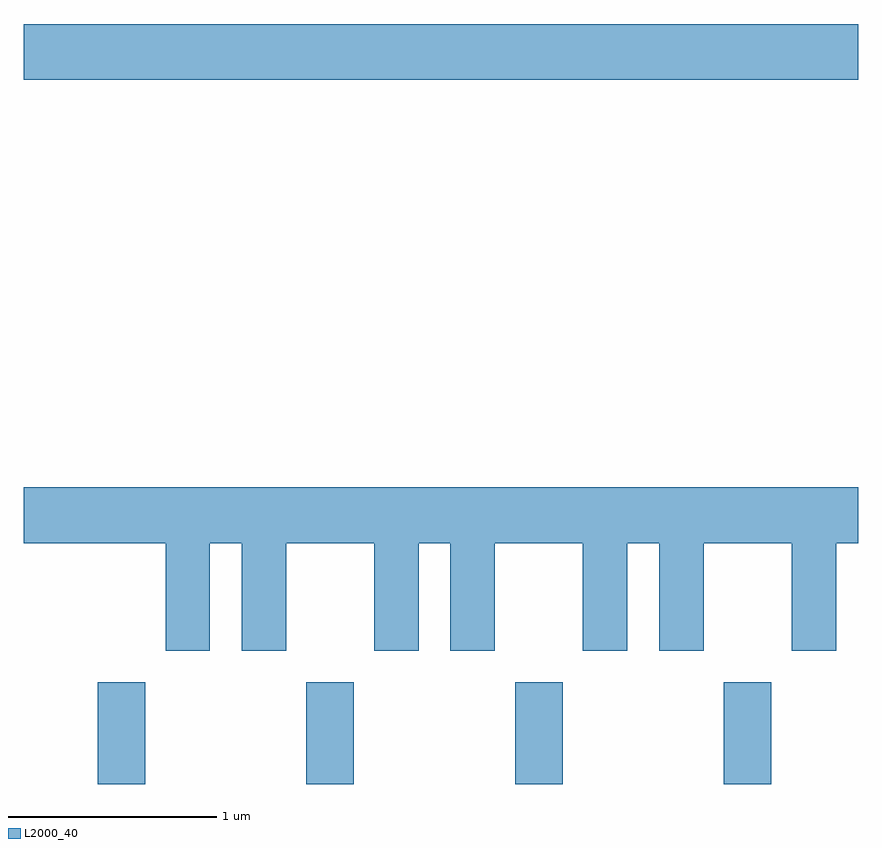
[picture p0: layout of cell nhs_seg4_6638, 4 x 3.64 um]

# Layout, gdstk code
import gdstk
lib = gdstk.Library(unit=1e-6, precision=1e-09)
def R(c, l, rs):  # rectangles x0, y0, x1, y1
    for r in rs: c.add(gdstk.rectangle(r[:2], r[2:], *l))
def A(c, l, x, y, w, h, nx, ny, dx, dy):  # array of equal rectangles
    R(c, l, [(x+i*dx, y+j*dy, x+i*dx+w, y+j*dy+h) for i in range(nx) for j in range(ny)])
def P(c, l, *ps):  # polygons
    for p in ps: c.add(gdstk.Polygon(p, *l))
L2000_40 = (2000, 40)

nhs_seg4_6638 = lib.new_cell('nhs_seg4_6638')
A(nhs_seg4_6638, L2000_40, 379.966, 1337.982, 0.228, 0.487, 4, 1, 1, 0)
R(nhs_seg4_6638, L2000_40, [(379.611,1341.356,383.611,1341.624)])
P(nhs_seg4_6638, L2000_40, [(380.504,1339.136),(380.656,1339.136),(380.656,1338.621),(380.869,1338.621),(380.869,1339.136),(381.291,1339.136),(381.291,1338.621),(381.504,1338.621),(381.504,1339.136),(381.656,1339.136),(381.656,1338.621),(381.869,1338.621),(381.869,1339.136),(382.291,1339.136),(382.291,1338.621),(382.504,1338.621),(382.504,1339.136),(382.656,1339.136),(382.656,1338.621),(382.869,1338.621),(382.869,1339.136),(383.291,1339.136),(383.291,1338.621),(383.504,1338.621),(383.504,1339.136),(383.611,1339.136),(383.611,1339.404),(379.611,1339.404),(379.611,1339.136),(380.291,1339.136),(380.291,1338.621),(380.504,1338.621)])

lib.write_gds('nhs_seg4_6638.gds')
